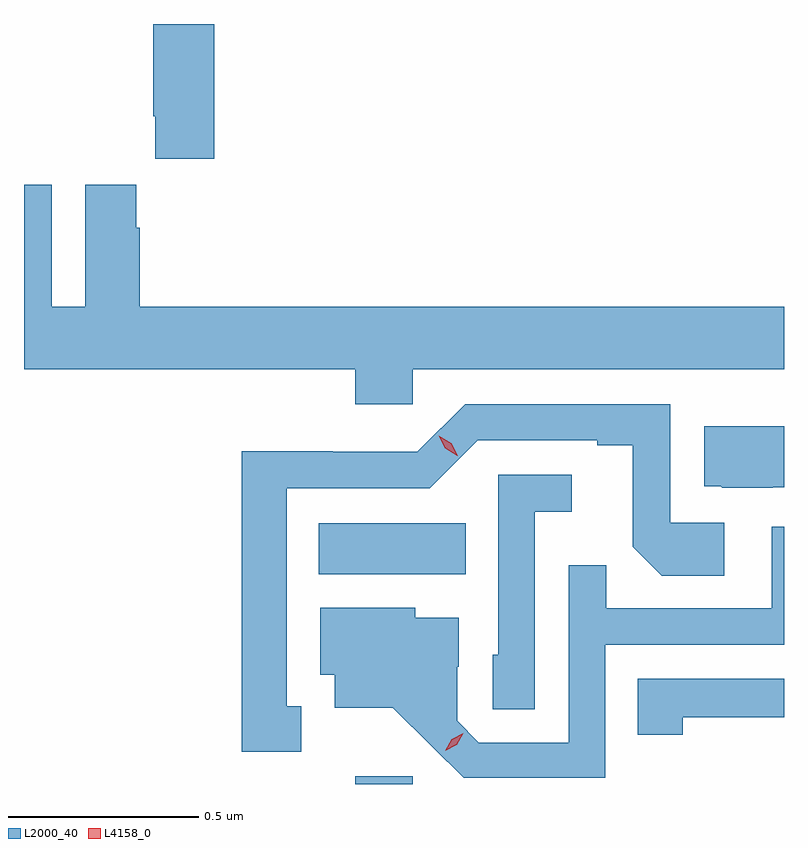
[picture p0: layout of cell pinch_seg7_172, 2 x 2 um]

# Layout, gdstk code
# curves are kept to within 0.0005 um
import gdstk
lib = gdstk.Library(unit=1e-6, precision=1e-09)
def R(c, l, rs):  # rectangles x0, y0, x1, y1
    for r in rs: c.add(gdstk.rectangle(r[:2], r[2:], *l))
def P(c, l, *ps):  # polygons
    for p in ps: c.add(gdstk.Polygon(p, *l))
L2000_40 = (2000, 40)
L4158_0 = (4158, 0)

pinch_seg7_172 = lib.new_cell('pinch_seg7_172')
R(pinch_seg7_172, L2000_40, [(1047.443,1031.492,1047.594,1031.512), (1047.347,1032.044,1047.734,1032.178)])
P(pinch_seg7_172, L2000_40, [(1047.071,1033.492),(1046.911,1033.492),(1046.911,1033.249),(1046.917,1033.249),(1046.917,1033.137),(1047.071,1033.137)],
  [(1047.594,1032.584),(1048.571,1032.584),(1048.571,1032.748),(1046.876,1032.748),(1046.876,1032.956),(1046.866,1032.956),(1046.866,1033.069),(1046.732,1033.069),(1046.732,1032.748),(1046.644,1032.748),(1046.644,1033.069),(1046.571,1033.069),(1046.571,1032.584),(1047.443,1032.584),(1047.443,1032.491),(1047.594,1032.491)],
  [(1047.301,1031.697),(1047.262,1031.697),(1047.262,1032.27),(1047.639,1032.27),(1047.765,1032.396),(1048.079,1032.396),(1048.079,1032.384),(1048.173,1032.384),(1048.173,1032.116),(1048.249,1032.04),(1048.414,1032.04),(1048.414,1032.18),(1048.272,1032.18),(1048.272,1032.492),(1047.732,1032.492),(1047.606,1032.366),(1047.384,1032.366),(1047.384,1032.368),(1047.144,1032.368),(1047.144,1031.577),(1047.301,1031.577)],
  [(1048.542,1032.273),(1048.571,1032.273),(1048.571,1032.433),(1048.361,1032.433),(1048.361,1032.275),(1048.405,1032.275),(1048.408,1032.272),(1048.542,1032.272)],
  [(1047.915,1032.209),(1048.012,1032.209),(1048.012,1032.306),(1047.819,1032.306),(1047.819,1031.832),(1047.804,1031.832),(1047.804,1031.689),(1047.915,1031.689)],
  [(1048.101,1031.859),(1048.571,1031.859),(1048.571,1032.169),(1048.539,1032.169),(1048.539,1031.955),(1048.103,1031.955),(1048.103,1032.068),(1048.005,1032.068),(1048.005,1031.601),(1047.768,1031.601),(1047.711,1031.658),(1047.711,1031.8),(1047.715,1031.8),(1047.715,1031.929),(1047.6,1031.929),(1047.6,1031.956),(1047.35,1031.956),(1047.35,1031.78),(1047.389,1031.78),(1047.389,1031.693),(1047.541,1031.693),(1047.728,1031.508),(1048.101,1031.508)],
  [(1048.305,1031.668),(1048.571,1031.668),(1048.571,1031.769),(1048.186,1031.769),(1048.186,1031.622),(1048.305,1031.622)])
P(pinch_seg7_172, L4158_0, [(1047.68,1031.58),(1047.68,1031.58),(1047.697,1031.61),(1047.727,1031.625),(1047.727,1031.625),(1047.727,1031.625),(1047.71,1031.595),(1047.68,1031.58)],
  [(1047.711,1032.356),(1047.68,1032.375),(1047.663,1032.408),(1047.663,1032.408),(1047.663,1032.408),(1047.695,1032.389),(1047.712,1032.356),(1047.712,1032.356)])

lib.write_gds('pinch_seg7_172.gds')
